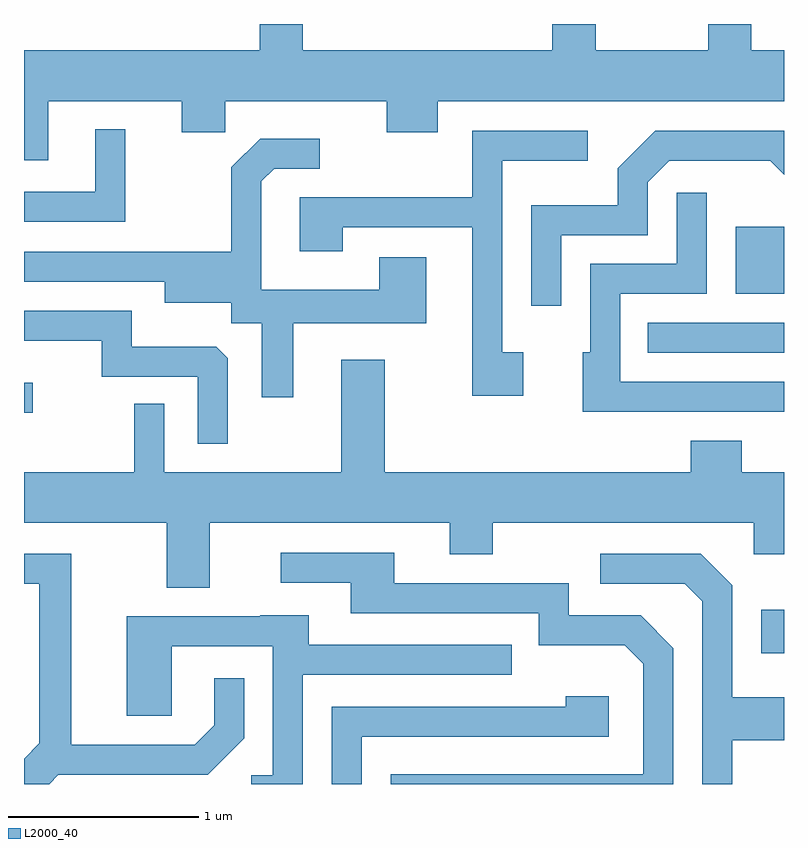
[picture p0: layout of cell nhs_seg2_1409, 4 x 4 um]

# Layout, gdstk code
import gdstk
lib = gdstk.Library(unit=1e-6, precision=1e-09)
def R(c, l, rs):  # rectangles x0, y0, x1, y1
    for r in rs: c.add(gdstk.rectangle(r[:2], r[2:], *l))
def P(c, l, *ps):  # polygons
    for p in ps: c.add(gdstk.Polygon(p, *l))
L2000_40 = (2000, 40)

nhs_seg2_1409 = lib.new_cell('nhs_seg2_1409')
R(nhs_seg2_1409, L2000_40, [(229.491,1076.491,229.611,1076.719), (225.611,1077.756,225.658,1077.914), (228.893,1078.071,229.611,1078.229), (229.356,1078.381,229.611,1078.734)])
P(nhs_seg2_1409, L2000_40, [(225.739,1079.396),(226.441,1079.396),(226.441,1079.231),(226.669,1079.231),(226.669,1079.396),(227.521,1079.396),(227.521,1079.231),(227.789,1079.231),(227.789,1079.396),(229.611,1079.396),(229.611,1079.664),(229.439,1079.664),(229.439,1079.802),(229.211,1079.802),(229.211,1079.664),(228.619,1079.664),(228.619,1079.802),(228.391,1079.802),(228.391,1079.664),(227.079,1079.664),(227.079,1079.802),(226.851,1079.802),(226.851,1079.664),(225.611,1079.664),(225.611,1079.086),(225.739,1079.086)],
  [(226.144,1079.248),(225.986,1079.248),(225.986,1078.919),(225.611,1078.919),(225.611,1078.761),(226.144,1078.761)],
  [(228.239,1078.074),(228.129,1078.074),(228.129,1079.081),(228.578,1079.081),(228.578,1079.239),(227.971,1079.239),(227.971,1078.889),(227.061,1078.889),(227.061,1078.606),(227.289,1078.606),(227.289,1078.731),(227.971,1078.731),(227.971,1077.846),(228.239,1077.846)],
  [(228.439,1078.691),(228.894,1078.691),(228.894,1078.969),(229.007,1079.081),(229.539,1079.081),(229.611,1079.009),(229.611,1079.239),(228.934,1079.239),(228.736,1079.042),(228.736,1078.849),(228.281,1078.849),(228.281,1078.318),(228.439,1078.318)],
  [(227.029,1078.226),(227.729,1078.226),(227.729,1078.574),(227.481,1078.574),(227.481,1078.404),(226.859,1078.404),(226.859,1078.974),(226.927,1079.041),(227.168,1079.041),(227.168,1079.199),(226.854,1079.199),(226.701,1079.047),(226.701,1078.604),(225.611,1078.604),(225.611,1078.446),(226.351,1078.446),(226.351,1078.336),(226.701,1078.336),(226.701,1078.226),(226.861,1078.226),(226.861,1077.838),(227.029,1077.838)],
  [(229.611,1077.919),(228.749,1077.919),(228.749,1078.381),(229.204,1078.381),(229.204,1078.913),(229.046,1078.913),(229.046,1078.539),(228.591,1078.539),(228.591,1078.074),(228.551,1078.074),(228.551,1077.761),(229.611,1077.761)],
  [(226.684,1078.044),(226.624,1078.104),(226.179,1078.104),(226.179,1078.294),(225.611,1078.294),(225.611,1078.136),(226.021,1078.136),(226.021,1077.946),(226.526,1077.946),(226.526,1077.593),(226.684,1077.593)],
  [(226.589,1077.176),(227.851,1077.176),(227.851,1077.011),(228.079,1077.011),(228.079,1077.176),(229.451,1077.176),(229.451,1077.011),(229.611,1077.011),(229.611,1077.444),(229.389,1077.444),(229.389,1077.609),(229.121,1077.609),(229.121,1077.444),(227.509,1077.444),(227.509,1078.034),(227.281,1078.034),(227.281,1077.444),(226.349,1077.444),(226.349,1077.803),(226.191,1077.803),(226.191,1077.444),(225.611,1077.444),(225.611,1077.176),(226.361,1077.176),(226.361,1076.836),(226.589,1076.836)],
  [(229.029,1076.517),(228.857,1076.689),(228.479,1076.689),(228.479,1076.859),(227.559,1076.859),(227.559,1077.019),(226.963,1077.019),(226.963,1076.861),(227.331,1076.861),(227.331,1076.701),(228.321,1076.701),(228.321,1076.531),(228.774,1076.531),(228.871,1076.434),(228.871,1075.854),(227.541,1075.854),(227.541,1075.802),(229.029,1075.802)],
  [(225.792,1075.851),(226.577,1075.851),(226.769,1076.044),(226.769,1076.358),(226.611,1076.358),(226.611,1076.112),(226.509,1076.009),(225.859,1076.009),(225.859,1077.014),(225.611,1077.014),(225.611,1076.856),(225.691,1076.856),(225.691,1076.017),(225.611,1075.936),(225.611,1075.802),(225.743,1075.802)],
  [(229.339,1076.031),(229.611,1076.031),(229.611,1076.259),(229.339,1076.259),(229.339,1076.847),(229.172,1077.014),(228.643,1077.014),(228.643,1076.856),(229.089,1076.856),(229.181,1076.764),(229.181,1075.802),(229.339,1075.802)],
  [(227.079,1076.376),(228.178,1076.376),(228.178,1076.534),(227.109,1076.534),(227.109,1076.689),(226.855,1076.689),(226.855,1076.684),(226.151,1076.684),(226.151,1076.161),(226.389,1076.161),(226.389,1076.526),(226.921,1076.526),(226.921,1075.849),(226.808,1075.849),(226.808,1075.802),(227.079,1075.802)],
  [(227.389,1076.051),(228.689,1076.051),(228.689,1076.264),(228.461,1076.264),(228.461,1076.209),(227.231,1076.209),(227.231,1075.802),(227.389,1075.802)])

lib.write_gds('nhs_seg2_1409.gds')
